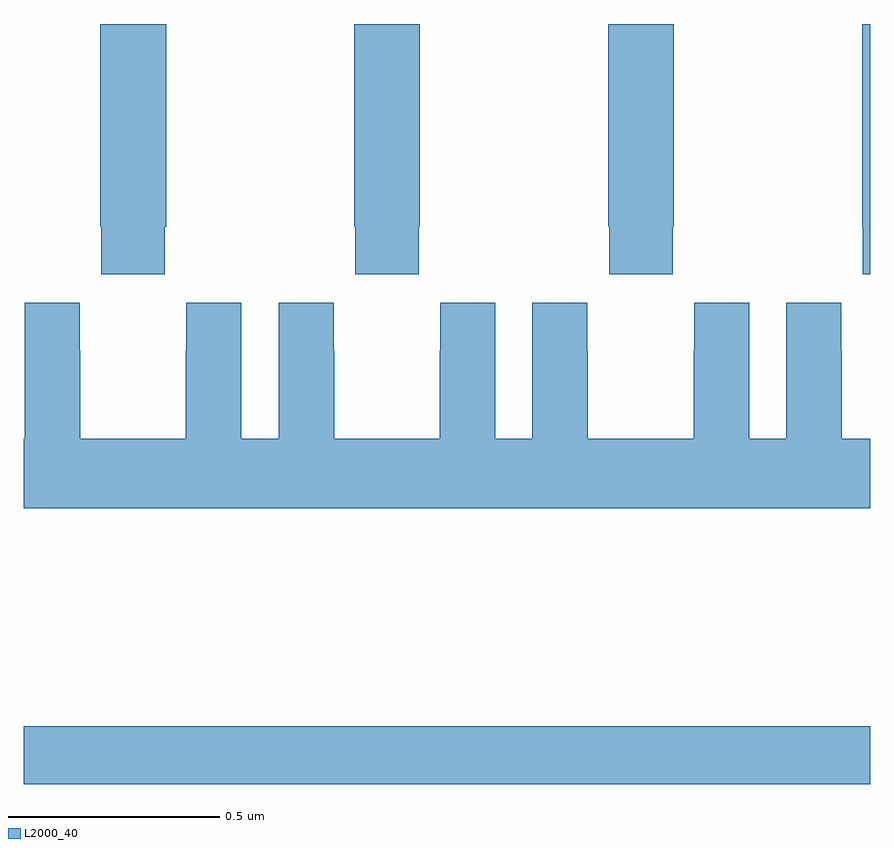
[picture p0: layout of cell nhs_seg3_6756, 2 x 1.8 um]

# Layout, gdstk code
import gdstk
lib = gdstk.Library(unit=1e-6, precision=1e-09)
def R(c, l, rs):  # rectangles x0, y0, x1, y1
    for r in rs: c.add(gdstk.rectangle(r[:2], r[2:], *l))
def P(c, l, *ps):  # polygons
    for p in ps: c.add(gdstk.Polygon(p, *l))
L2000_40 = (2000, 40)

nhs_seg3_6756 = lib.new_cell('nhs_seg3_6756')
R(nhs_seg3_6756, L2000_40, [(195,693.604,197,693.74)])
P(nhs_seg3_6756, L2000_40, [(195.333,694.921),(195.336,694.921),(195.336,695.4),(195.181,695.4),(195.181,694.921),(195.183,694.921),(195.183,694.809),(195.333,694.809)],
  [(195.933,694.921),(195.936,694.921),(195.936,695.4),(195.781,695.4),(195.781,694.921),(195.783,694.921),(195.783,694.809),(195.933,694.809)],
  [(196.533,694.921),(196.536,694.921),(196.536,695.4),(196.381,695.4),(196.381,694.921),(196.383,694.921),(196.383,694.809),(196.533,694.809)],
  [(197,695.4),(196.981,695.4),(196.981,694.921),(196.983,694.921),(196.983,694.809),(197,694.809)],
  [(197,694.42),(196.933,694.42),(196.933,694.628),(196.932,694.628),(196.932,694.741),(196.802,694.741),(196.802,694.42),(196.714,694.42),(196.714,694.741),(196.584,694.741),(196.584,694.628),(196.583,694.628),(196.583,694.42),(196.333,694.42),(196.333,694.628),(196.332,694.628),(196.332,694.741),(196.202,694.741),(196.202,694.42),(196.114,694.42),(196.114,694.741),(195.984,694.741),(195.984,694.628),(195.983,694.628),(195.983,694.42),(195.733,694.42),(195.733,694.628),(195.732,694.628),(195.732,694.741),(195.602,694.741),(195.602,694.42),(195.514,694.42),(195.514,694.741),(195.384,694.741),(195.384,694.628),(195.383,694.628),(195.383,694.42),(195.133,694.42),(195.133,694.628),(195.132,694.628),(195.132,694.741),(195.002,694.741),(195.002,694.42),(195,694.42),(195,694.256),(197,694.256)])

lib.write_gds('nhs_seg3_6756.gds')
